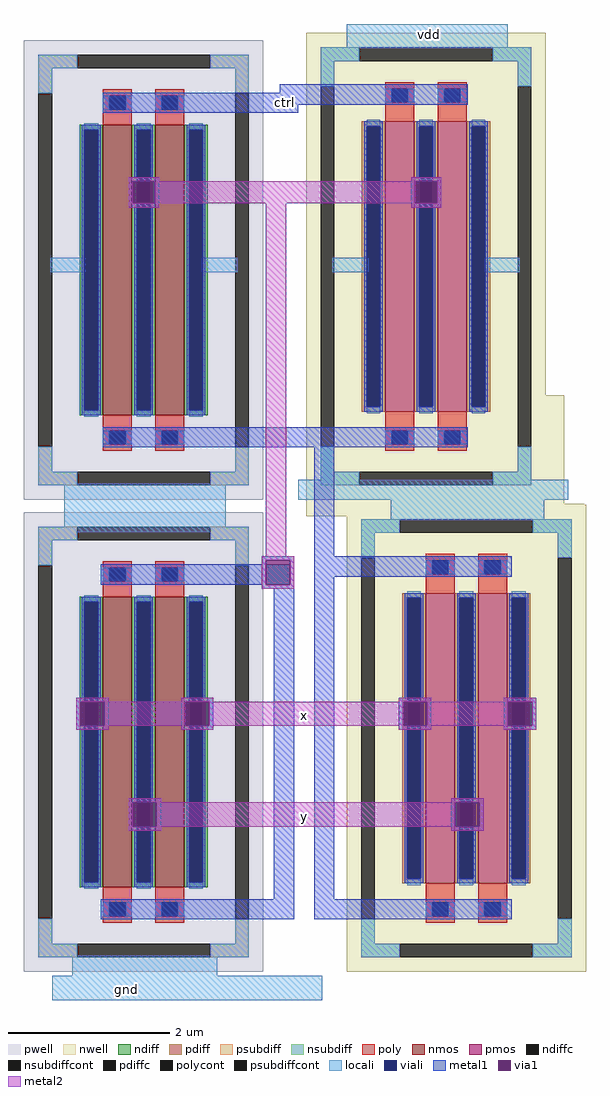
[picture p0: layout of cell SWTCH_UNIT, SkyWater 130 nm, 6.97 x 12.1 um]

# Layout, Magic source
magic
tech sky130A
<< nwell >>
rect 640 50 670 150
rect 350 15 670 50
rect 350 0 695 15
<< locali >>
rect 50 -20 250 10
<< metal1 >>
rect 295 -55 335 -50
rect 295 -85 300 -55
rect 330 -85 335 -55
rect 360 -75 385 110
rect 295 -90 335 -85
<< via1 >>
rect 300 -85 330 -55
<< metal2 >>
rect 300 -50 325 415
rect 295 -55 335 -50
rect 295 -85 300 -55
rect 330 -85 335 -55
rect 295 -90 335 -85
use SWTCH_INV  SWTCH_INV_0 ~/dev/personal/chacha-silicon/tt09-analog-switch/swtch_inv_sky130nm/design/SWTCH_INV_SKY130NM
transform 1 0 500 0 1 70
box -500 -70 147 540
use SWTCH_SWITCH  SWTCH_SWITCH_0 ~/dev/personal/chacha-silicon/tt09-analog-switch/swtch_switch_sky130nm/design/SWTCH_SWITCH_SKY130NM
transform 1 0 100 0 1 -465
box -100 -135 597 510
<< labels >>
rlabel space 310 500 335 525 1 ctrl
port 1 n
rlabel space 340 -255 355 -240 1 x
port 2 n
rlabel space 340 -380 355 -365 1 y
port 3 n
rlabel space 120 -595 135 -580 1 gnd
port 4 n
rlabel space 495 590 510 605 1 vdd
port 5 n
<< end >>

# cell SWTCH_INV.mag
magic
tech sky130A
magscale 1 2
<< locali >>
rect -200 1020 200 1080
rect -935 465 -845 500
rect -560 465 -470 500
rect -235 465 -145 500
rect 140 465 230 500
rect -900 -140 -500 -60
<< metal1 >>
rect -365 910 100 930
rect -805 880 100 910
rect -805 860 -320 880
rect -740 690 -665 700
rect -740 635 -730 690
rect -675 635 -665 690
rect -740 625 -665 635
rect -40 690 35 700
rect -40 635 -30 690
rect 25 635 35 690
rect -40 625 35 635
rect -805 30 100 80
<< via1 >>
rect -730 635 -675 690
rect -30 635 25 690
<< metal2 >>
rect -740 690 -665 700
rect -40 690 35 700
rect -740 635 -730 690
rect -675 635 -30 690
rect 25 635 35 690
rect -740 625 -665 635
rect -40 625 35 635
use sky130_fd_pr__nfet_01v8_MNCXCV  sky130_fd_pr__nfet_01v8_MNCXCV_0
transform 1 0 -703 0 1 470
box -297 -570 297 570
use sky130_fd_pr__pfet_01v8_CVBGJ4  sky130_fd_pr__pfet_01v8_CVBGJ4_0
transform 1 0 -3 0 1 479
box -297 -579 297 579
<< labels >>
rlabel locali -900 -140 -500 -80 1 GND
port 2 n
rlabel locali -200 1020 200 1080 1 VDD
port 1 n
rlabel metal2 -380 640 -320 680 1 OUT
port 4 n
rlabel metal1 -380 40 -320 80 1 IN
port 3 n
<< end >>

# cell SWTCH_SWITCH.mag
magic
tech sky130A
magscale 1 2
<< locali >>
rect 480 970 1150 1020
rect 710 920 1090 970
rect -80 -210 280 -160
rect -130 -270 540 -210
<< metal1 >>
rect -10 760 470 810
rect -70 470 10 480
rect -70 410 -60 470
rect 0 410 10 470
rect -70 400 10 410
rect 190 470 270 480
rect 190 410 200 470
rect 260 410 270 470
rect 190 400 270 410
rect 60 220 140 230
rect 60 160 70 220
rect 130 160 140 220
rect 60 150 140 160
rect 420 -20 470 760
rect -10 -70 470 -20
rect 520 780 1010 830
rect 520 -20 570 780
rect 730 470 810 480
rect 730 410 740 470
rect 800 410 810 470
rect 730 400 810 410
rect 990 470 1070 480
rect 990 410 1000 470
rect 1060 410 1070 470
rect 990 400 1070 410
rect 860 220 940 230
rect 860 160 870 220
rect 930 160 940 220
rect 860 150 940 160
rect 520 -70 1010 -20
<< via1 >>
rect -60 410 0 470
rect 200 410 260 470
rect 70 160 130 220
rect 740 410 800 470
rect 1000 410 1060 470
rect 870 160 930 220
<< metal2 >>
rect -70 470 10 480
rect 190 470 270 480
rect 730 470 810 480
rect 990 470 1070 480
rect -70 410 -60 470
rect 0 410 200 470
rect 260 410 740 470
rect 800 410 1000 470
rect 1060 410 1070 470
rect -70 400 10 410
rect 190 400 270 410
rect 730 400 810 410
rect 990 400 1070 410
rect 60 220 140 230
rect 860 220 940 230
rect 60 160 70 220
rect 130 160 870 220
rect 930 160 940 220
rect 60 150 140 160
rect 860 150 940 160
use sky130_fd_pr__nfet_01v8_5CE34N  sky130_fd_pr__nfet_01v8_5CE34N_0
transform 1 0 97 0 1 370
box -297 -570 297 570
use sky130_fd_pr__pfet_01v8_48NGR2  sky130_fd_pr__pfet_01v8_48NGR2_0
transform 1 0 897 0 1 379
box -297 -579 297 579
<< labels >>
rlabel locali 480 970 530 1020 1 VDD
port 1 n
rlabel locali 490 -270 540 -220 1 GND
port 2 n
rlabel metal2 480 420 510 450 1 X
port 3 n
rlabel metal2 480 170 510 200 1 Y
port 4 n
rlabel metal1 430 770 460 800 1 IN_N
port 5 n
rlabel metal1 530 790 560 820 1 IN_P
port 6 n
<< end >>

# cell sky130_fd_pr__nfet_01v8_5CE34N: kit device sky130_fd_pr__nfet_01v8, w 3.6 l 0.36 m 1 nf 2 diffcov 100 polycov 100 guard 1 glc 1 grc 1 gtc 1 gbc 1 tbcov 100 rlcov 100 topc 1 botc 1 poverlap 0 doverlap 1 lmin 0.15 wmin 0.42 compatible {sky130_fd_pr__nfet_01v8 sky130_fd_pr__nfet_01v8_lvt sky130_fd_bs_flash__special_sonosfet_star sky130_fd_pr__nfet_g5v0d10v5 sky130_fd_pr__nfet_05v0_nvt sky130_fd_pr__nfet_03v3_nvt} full_metal 1 viasrc 100 viadrn 100 viagate 100 viagb 0 viagr 0 viagl 0 viagt 0

# cell sky130_fd_pr__pfet_01v8_48NGR2: kit device sky130_fd_pr__pfet_01v8, w 3.6 l 0.36 m 1 nf 2 diffcov 100 polycov 100 guard 1 glc 1 grc 1 gtc 1 gbc 1 tbcov 100 rlcov 100 topc 1 botc 1 poverlap 0 doverlap 1 lmin 0.15 wmin 0.42 compatible {sky130_fd_pr__pfet_01v8 sky130_fd_pr__pfet_01v8_lvt sky130_fd_pr__pfet_01v8_hvt sky130_fd_pr__pfet_g5v0d10v5} full_metal 1 viasrc 100 viadrn 100 viagate 100 viagb 0 viagr 0 viagl 0 viagt 0

# cell sky130_fd_pr__nfet_01v8_MNCXCV: kit device sky130_fd_pr__nfet_01v8, w 3.6 l .36 m 1 nf 2 diffcov 100 polycov 100 guard 1 glc 1 grc 1 gtc 1 gbc 1 tbcov 100 rlcov 100 topc 1 botc 1 poverlap 0 doverlap 1 lmin 0.15 wmin 0.42 compatible {sky130_fd_pr__nfet_01v8 sky130_fd_pr__nfet_01v8_lvt sky130_fd_bs_flash__special_sonosfet_star sky130_fd_pr__nfet_g5v0d10v5 sky130_fd_pr__nfet_05v0_nvt sky130_fd_pr__nfet_03v3_nvt} full_metal 1 viasrc 100 viadrn 100 viagate 100 viagb 0 viagr 0 viagl 0 viagt 0

# cell sky130_fd_pr__pfet_01v8_CVBGJ4: kit device sky130_fd_pr__pfet_01v8, w 03.6 l .36 m 1 nf 2 diffcov 100 polycov 100 guard 1 glc 1 grc 1 gtc 1 gbc 1 tbcov 100 rlcov 100 topc 1 botc 1 poverlap 0 doverlap 1 lmin 0.15 wmin 0.42 compatible {sky130_fd_pr__pfet_01v8 sky130_fd_pr__pfet_01v8_lvt sky130_fd_pr__pfet_01v8_hvt sky130_fd_pr__pfet_g5v0d10v5} full_metal 1 viasrc 100 viadrn 100 viagate 100 viagb 0 viagr 0 viagl 0 viagt 0
